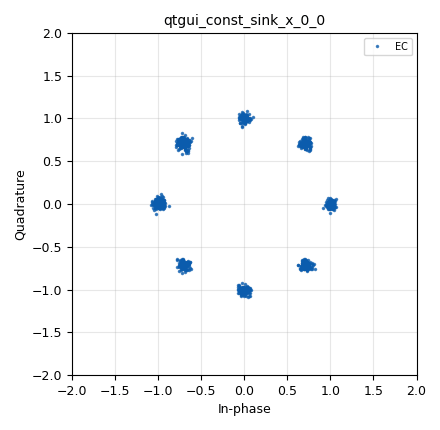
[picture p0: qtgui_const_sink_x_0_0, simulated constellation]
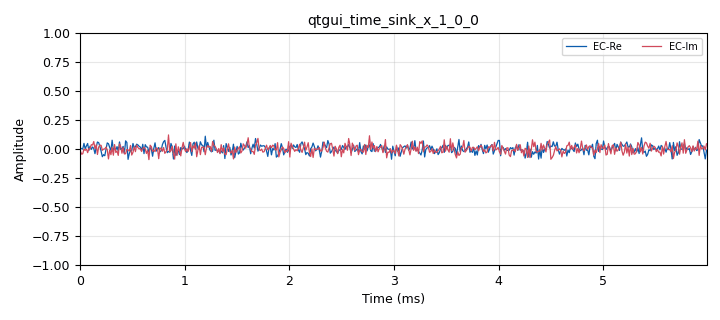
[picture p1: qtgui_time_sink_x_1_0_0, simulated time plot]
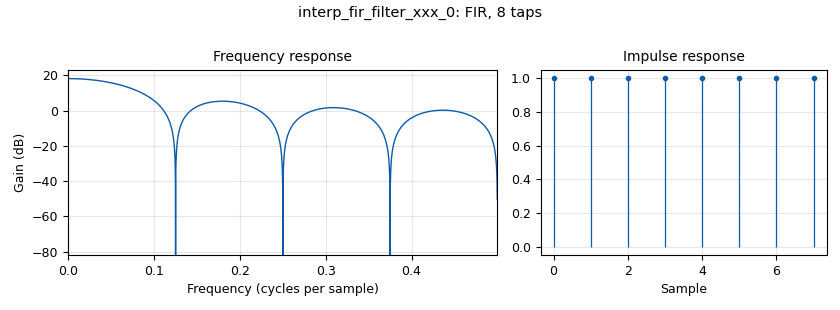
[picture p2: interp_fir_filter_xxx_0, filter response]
options:
  parameters:
    author: Jeanpaull Valencia
    description: Diseño de una modulación 8-PSK
    generate_options: qt_gui
    id: LABIV
    output_language: python
    title: Laboratorio de 8PSK
  states: {}

blocks:
- name: M
  id: variable
  parameters:
    value: '8'
  states: {}
- name: Nbps
  id: variable
  parameters:
    value: int(math.log(M,2))
  states: {}
- name: Rb
  id: variable
  parameters:
    value: '32000'
  states: {}
- name: Rs
  id: variable
  parameters:
    value: Rb/Nbps
  states: {}
- name: Sps
  id: variable
  parameters:
    value: len(h)
  states: {}
- name: h
  id: variable
  parameters:
    value: (1.,1.,1.,1.,1.,1.,1.,1.)
  states: {}
- name: samp_rate
  id: variable
  parameters:
    value: Rs*Sps
  states: {}
- name: analog_const_source_x_0
  id: analog_const_source_x
  parameters:
    const: '1.'
    type: float
  states: {}
- name: analog_noise_source_x_1
  id: analog_noise_source_x
  parameters:
    amp: '0.05'
    noise_type: analog.GR_GAUSSIAN
    seed: '0'
    type: complex
  states: {}
- name: analog_random_source_x_0
  id: analog_random_source_x
  parameters:
    max: '2'
    min: '0'
    num_samps: '1000'
    repeat: 'True'
    type: byte
  states: {}
- name: blocks_add_xx_0
  id: blocks_add_xx
  parameters:
    type: complex
  states: {}
- name: blocks_char_to_float_0
  id: blocks_char_to_float
  parameters:
    scale: '1'
  states: {state: disabled}
- name: blocks_char_to_float_0_0
  id: blocks_char_to_float
  parameters:
    scale: '1'
  states: {state: disabled}
- name: blocks_char_to_float_3
  id: blocks_char_to_float
  parameters:
    scale: '1'
  states: {}
- name: blocks_multiply_const_vxx_0
  id: blocks_multiply_const_vxx
  parameters:
    const: math.pi*2/M
    type: float
  states: {}
- name: blocks_null_sink_0
  id: blocks_null_sink
  parameters:
    type: complex
  states: {}
- name: blocks_repack_bits_bb_0
  id: blocks_repack_bits_bb
  parameters:
    endianness: gr.GR_LSB_FIRST
    k: '1'
    l: Nbps
  states: {}
- name: epy_block_0
  id: epy_block
  parameters:
    _source_code: |
      import numpy as np
      from gnuradio import gr


      class blk(gr.sync_block):  
          """Es un VCO de dos entradas:
          Q: para manipular la fase en radianes,
          A: para manipular la amplitud."""

          def __init__(self):
              gr.sync_block.__init__(
                  self,
                  name='e_VCO_fase_fc',
                  in_sig=[np.float32, np.float32],
                  out_sig=[np.complex64]
              )

          def work(self, input_items, output_items):
              Q = input_items[0]
              A = input_items[1]
              Sec = output_items[0]
              Sec[:] = A * np.exp(1.j * Q)
              return len(Sec)
  states: {}
- name: import_0
  id: import
  parameters:
    imports: import math
  states: {}
- name: interp_fir_filter_xxx_0
  id: interp_fir_filter_xxx
  parameters:
    interp: Sps
    taps: h
    type: ccc
  states: {}
- name: qtgui_const_sink_x_0
  id: qtgui_const_sink_x
  parameters:
    label1: EC
    size: '1024'
    type: complex
  states: {state: disabled}
- name: qtgui_const_sink_x_0_0
  id: qtgui_const_sink_x
  parameters:
    label1: EC
    size: '1024'
    type: complex
  states: {}
- name: qtgui_const_sink_x_0_0_0
  id: qtgui_const_sink_x
  parameters:
    label1: EC
    size: '1024'
    type: complex
  states: {state: disabled}
- name: qtgui_freq_sink_x_0
  id: qtgui_freq_sink_x
  parameters:
    average: '0.05'
    bw: samp_rate
    fc: '0'
    fftsize: '1024'
    type: complex
  states: {state: disabled}
- name: qtgui_time_sink_x_0
  id: qtgui_time_sink_x
  parameters:
    label1: Random Signal
    size: '32'
    srate: Rb
    stemplot: 'True'
    type: float
    width1: '2'
  states: {state: disabled}
- name: qtgui_time_sink_x_0_0
  id: qtgui_time_sink_x
  parameters:
    label1: Packed signal
    size: int(32/Nbps)
    srate: Rb
    stemplot: 'True'
    type: float
    width1: '2'
  states: {state: disabled}
- name: qtgui_time_sink_x_0_1
  id: qtgui_time_sink_x
  parameters:
    label1: M-PAM
    size: '32'
    srate: Rb
    stemplot: 'True'
    type: float
    width1: '2'
  states: {state: disabled}
- name: qtgui_time_sink_x_1
  id: qtgui_time_sink_x
  parameters:
    label1: EC-Re
    label2: EC-Im
    marker1: '0'
    marker2: '0'
    size: int(32/Nbps)
    srate: Rs
    stemplot: 'True'
    type: complex
  states: {state: disabled}
- name: qtgui_time_sink_x_1_0
  id: qtgui_time_sink_x
  parameters:
    color1: dark red
    label1: EC-Re
    label2: EC-Im
    size: int(32*Sps/Nbps)
    srate: samp_rate
    type: complex
  states: {state: disabled}
- name: qtgui_time_sink_x_1_0_0
  id: qtgui_time_sink_x
  parameters:
    color1: red
    color2: blue
    label1: EC-Re
    label2: EC-Im
    size: '512'
    srate: samp_rate
    type: complex
  states: {}
- name: virtual_sink_0
  id: virtual_sink
  parameters:
    stream_id: OUT
  states: {}
- name: virtual_sink_1
  id: virtual_sink
  parameters:
    stream_id: D8PSK
  states: {}
- name: virtual_source_0
  id: virtual_source
  parameters:
    stream_id: OUT
  states: {}
- name: virtual_source_0_0
  id: virtual_source
  parameters:
    stream_id: D8PSK
  states: {}

connections:
- [analog_const_source_x_0, '0', epy_block_0, '1']
- [analog_noise_source_x_1, '0', blocks_add_xx_0, '0']
- [analog_noise_source_x_1, '0', qtgui_time_sink_x_1_0_0, '0']
- [analog_random_source_x_0, '0', blocks_char_to_float_0, '0']
- [analog_random_source_x_0, '0', blocks_repack_bits_bb_0, '0']
- [blocks_add_xx_0, '0', blocks_null_sink_0, '0']
- [blocks_add_xx_0, '0', qtgui_const_sink_x_0_0, '0']
- [blocks_char_to_float_0, '0', qtgui_time_sink_x_0, '0']
- [blocks_char_to_float_0_0, '0', qtgui_time_sink_x_0_0, '0']
- [blocks_char_to_float_3, '0', blocks_multiply_const_vxx_0, '0']
- [blocks_multiply_const_vxx_0, '0', epy_block_0, '0']
- [blocks_multiply_const_vxx_0, '0', qtgui_time_sink_x_0_1, '0']
- [blocks_repack_bits_bb_0, '0', blocks_char_to_float_0_0, '0']
- [blocks_repack_bits_bb_0, '0', virtual_sink_0, '0']
- [epy_block_0, '0', qtgui_time_sink_x_1, '0']
- [epy_block_0, '0', virtual_sink_1, '0']
- [interp_fir_filter_xxx_0, '0', blocks_add_xx_0, '1']
- [interp_fir_filter_xxx_0, '0', qtgui_freq_sink_x_0, '0']
- [interp_fir_filter_xxx_0, '0', qtgui_time_sink_x_1_0, '0']
- [virtual_source_0, '0', blocks_char_to_float_3, '0']
- [virtual_source_0_0, '0', interp_fir_filter_xxx_0, '0']
- [virtual_source_0_0, '0', qtgui_const_sink_x_0, '0']

metadata:
  file_format: 1
  grc_version: 3.10.9.2
